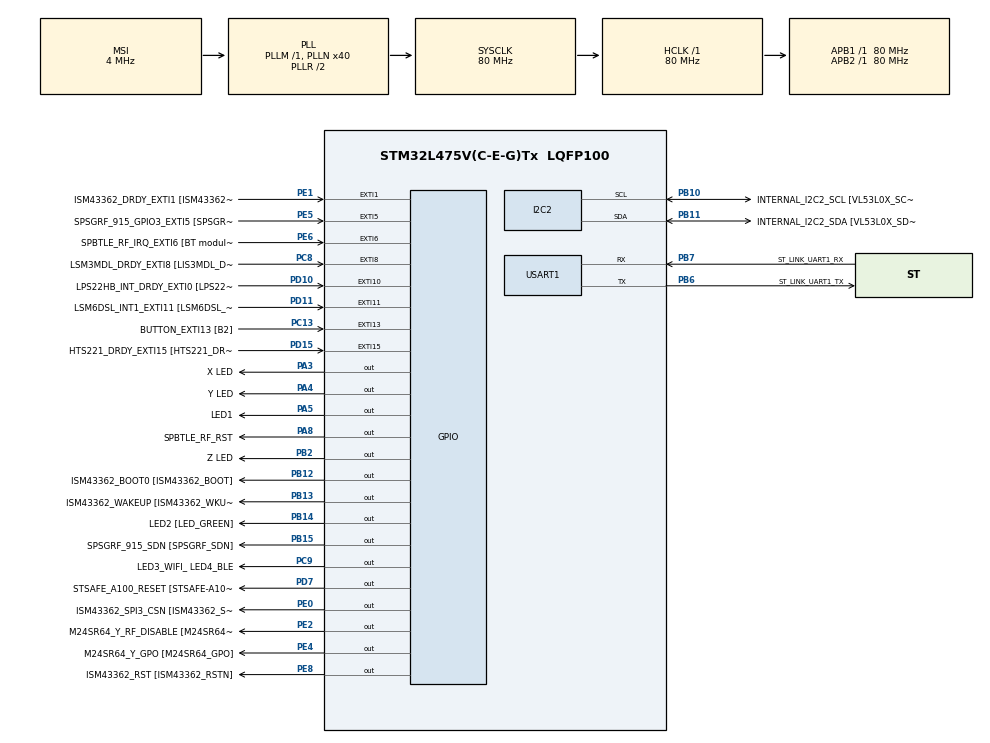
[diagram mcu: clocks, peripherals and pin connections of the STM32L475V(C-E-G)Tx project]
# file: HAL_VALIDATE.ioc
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Mcu.Family=STM32L4
RCC.CortexFreq_Value=80000000
PB10.Mode=I2C
PB14.GPIO_Label=LED2 [LED_GREEN]
I2C2.Timing=0x10909CEC
PB6.GPIO_Label=ST_LINK_UART1_TX
PC15-OSC32_OUT\ (PC15).Mode=LSE-External-Oscillator
PC13.GPIO_Label=BUTTON_EXTI13 [B2]
PB13.GPIO_Label=ISM43362_WAKEUP [ISM43362_WKUP]
PB11.Signal=I2C2_SDA
PB13.Signal=GPIO_Output
PB15.Signal=GPIO_Output
PE6.GPIO_Label=SPBTLE_RF_IRQ_EXTI6 [BT module_SPI_IRQ]
RCC.SYSCLKSource=RCC_SYSCLKSOURCE_PLLCLK
ProjectManager.StackSize=0x400
PC14-OSC32_IN\ (PC14).Mode=LSE-External-Oscillator
PA14\ (JTCK-SWCLK).Signal=SYS_JTCK-SWCLK
PD11.GPIO_Label=LSM6DSL_INT1_EXTI11 [LSM6DSL_INT1]
RCC.HCLKFreq_Value=80000000
RCC.APB2TimFreq_Value=80000000
PB6.Signal=USART1_TX
PB6.Mode=Asynchronous
PE5.Signal=GPXTI5
PE1.Signal=GPXTI1
RCC.AHBFreq_Value=80000000
NVIC.EXTI15_10_IRQn=true\:0\:0\:false\:false\:true\:true\:true
RCC.HSE_VALUE=8000000
PB2.Signal=GPIO_Output
PB12.GPIO_Label=ISM43362_BOOT0 [ISM43362_BOOT]
PE4.GPIO_Label=M24SR64_Y_GPO [M24SR64_GPO]
PE2.Signal=GPIO_Output
PB7.Signal=USART1_RX
PA8.Signal=GPIO_Output
PE4.Signal=GPIO_Output
PD7.GPIO_Label=STSAFE_A100_RESET [STSAFE-A100_RESET]
PB7.GPIO_Label=ST_LINK_UART1_RX
Mcu.Package=LQFP100
PE0.GPIO_Label=ISM43362_SPI3_CSN [ISM43362_SSN]
RCC.APB1TimFreq_Value=80000000
PA13\ (JTMS-SWDIO).Signal=SYS_JTMS-SWDIO
PA4.GPIO_Label=Y LED
PE2.GPIO_Label=M24SR64_Y_RF_DISABLE [M24SR64_RFDIS]
PD15.Signal=GPXTI15
RCC.PLLSAI1N=24
PA3.Signal=GPIO_Output
RCC.MSI_VALUE=4000000
PA14\ (JTCK-SWCLK).Mode=Serial_Wire
PD15.GPIO_Label=HTS221_DRDY_EXTI15 [HTS221_DRDY]
PC9.GPIO_Label=LED3_WIFI_ LED4_BLE
PC13.Signal=GPXTI13
PC8.Signal=GPXTI8
PB11.GPIO_Label=INTERNAL_I2C2_SDA [VL53L0X_SDA]
PD7.Signal=GPIO_Output
PC15-OSC32_OUT\ (PC15).Signal=RCC_OSC32_OUT
PA14\ (JTCK-SWCLK).GPIO_Label=SYS_JTCK_SWCLK
PC8.GPIO_Label=LSM3MDL_DRDY_EXTI8 [LIS3MDL_DRDY]
PD10.Signal=GPXTI10
USART1.VirtualMode-Asynchronous=VM_ASYNC
PE0.PinState=GPIO_PIN_SET
PA8.GPIO_Label=SPBTLE_RF_RST
PB14.PinState=GPIO_PIN_SET
PB11.Mode=I2C
ProjectManager.TargetToolchain=STM32CubeIDE
PB10.GPIO_Label=INTERNAL_I2C2_SCL [VL53L0X_SCL]
PE8.GPIO_Label=ISM43362_RST [ISM43362_RSTN]
RCC.USBFreq_Value=48000000
PD10.GPIO_Label=LPS22HB_INT_DRDY_EXTI0 [LPS22HB_INT_DRDY] 
PB10.Signal=I2C2_SCL
PB14.Signal=GPIO_Output
PA5.Signal=GPIO_Output
board=B-L475E-IOT01A1
RCC.VCOOutputFreq_Value=160000000
PE1.GPIO_Label=ISM43362_DRDY_EXTI1 [ISM43362_DATARDY]
RCC.APB2Freq_Value=80000000
PA13\ (JTMS-SWDIO).GPIO_Label=SYS_JTMS_SWDIO
PB15.GPIO_Label=SPSGRF_915_SDN [SPSGRF_SDN]
PE8.Signal=GPIO_Output
RCC.ADCFreq_Value=48000000
PE6.Signal=GPXTI6
Mcu.Name=STM32L475V(C-E-G)Tx
PE0.Signal=GPIO_Output
PA13\ (JTMS-SWDIO).Mode=Serial_Wire
PA4.Signal=GPIO_Output
RCC.SYSCLKFreq_VALUE=80000000
PA5.GPIO_Label=LED1
PC13.GPIO_ModeDefaultEXTI=GPIO_MODE_IT_FALLING
PC14-OSC32_IN\ (PC14).Signal=RCC_OSC32_IN
PD11.Signal=GPXTI11
PE5.GPIO_Label=SPSGRF_915_GPIO3_EXTI5 [SPSGRF_GPIO_3]
PB7.Mode=Asynchronous
NVIC.EXTI9_5_IRQn=true\:0\:0\:false\:false\:true\:true\:true
PB2.GPIO_Label=Z LED
ProjectManager.HeapSize=0x200
RCC.HSI_VALUE=16000000
NVIC.PriorityGroup=NVIC_PRIORITYGROUP_4
RCC.PLLN=40
PC9.Signal=GPIO_Output
RCC.APB1Freq_Value=80000000
PB12.Signal=GPIO_Output
PA3.GPIO_Label=X LED

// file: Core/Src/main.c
/* USER CODE BEGIN Header */
/**
  ******************************************************************************
  * @file           : main.c
  * @brief          : Main program body
  ******************************************************************************
  * @attention
  *
  * <h2><center>&copy; Copyright (c) 2021 STMicroelectronics.
  * All rights reserved.</center></h2>
  *
  * This software component is licensed by ST under BSD 3-Clause license,
  * the "License"; You may not use this file except in compliance with the
  * License. You may obtain a copy of the License at:
  *                        opensource.org/licenses/BSD-3-Clause
  *
  ******************************************************************************
  */
/* USER CODE END Header */
#include "main.h"

/* USER CODE BEGIN Includes */
#include "string.h"
#include <stdio.h>
/* USER CODE END Includes */

I2C_HandleTypeDef hi2c2;

UART_HandleTypeDef huart1;

/* USER CODE BEGIN PV */
static const uint8_t LSM6_ADDR = 0x6A << 1; // I'm remember what this is? I think this is the 1101010 in 1101 010x
static const uint8_t XALL_ADDR = 0x28; // next  8 bits (will I need this if I try to read 2 bytes?)
//static const uint8_t INT1_CTRL = 0x0D;
static uint8_t config = 0x60;	// 01100000; high speed
//static uint16_t xread;
//static uint16_t yread;
//static uint16_t zread;
//static uint16_t AccelVal[3];

/* USER CODE END PV */

void SystemClock_Config(void);
static void MX_GPIO_Init(void);
static void MX_I2C2_Init(void);
static void MX_USART1_UART_Init(void);
/* USER CODE BEGIN PFP */
//void readXval(uint8_t* buf);
//void readYval(uint8_t* buf);
//void readZval(uint8_t* buf);
void LEDBlink();
//uint16_t * readAccel();
// in C you can't pass by reference
//void readAccel(uint16_t *retval); //
void readAccel(uint16_t *retval,char *retSi);
void LEDfunc(uint16_t *accVal, char *acSi);
/* USER CODE END PFP */

int main(void)
{
  /* USER CODE BEGIN 1 */
		HAL_StatusTypeDef ret; // status of I2C commands
		uint8_t text[50] = "Hello!\r\n";  // text array for outputting in UART
		//uint8_t buf[6]; 			 // buffer for register values supposed to be
		//uint16_t val;  				 // the combined registers of x accelerometer value
		//float xval;
		uint16_t AccelVal[3];      // want an array
		char acSign[3];
  /* USER CODE END 1 */

  /* MCU Configuration--------------------------------------------------------*/

  /* Reset of all peripherals, Initializes the Flash interface and the Systick. */
  HAL_Init();

  /* Configure the system clock */
  SystemClock_Config();

  /* Initialize all configured peripherals */
  MX_GPIO_Init();
  MX_I2C2_Init();
  MX_USART1_UART_Init();
  /* USER CODE BEGIN 2 */
//  HAL_TIM_Base_Start(&htim2);
//  HAL_TIM_Base_Start(&htim5);
  HAL_Delay(15);

  // print out start message for debugging
  HAL_UART_Transmit(&huart1, text, strlen((char*)text), HAL_MAX_DELAY);

  //// configure the I2C register for IMU
  ret = HAL_I2C_Mem_Write(&hi2c2, LSM6_ADDR, 0x10, 1, &config, 1, 50);
  if(ret != HAL_OK)
  {
		//return ret;
		strcpy((char*)text,"I2C Error\r\n");
		while (1){HAL_UART_Transmit(&huart1, text, strlen((char*)text), HAL_MAX_DELAY);}
  }
  /* USER CODE END 2 */

  /* Infinite loop */
  /* USER CODE BEGIN WHILE */
  while (1)
  {

	  LEDBlink();
	  HAL_Delay(100);
	  readAccel(AccelVal,acSign);
	  HAL_Delay(100);
	  LEDfunc(AccelVal,acSign);
	  HAL_Delay(500);
//	  readXval(&buf);
//	  HAL_Delay(10);
//	  readYval(&buf);
//	  HAL_Delay(10);
//	  readZval(&buf);
//	  HAL_Delay(70);
    /* USER CODE END WHILE */

  }
}

void SystemClock_Config(void)
{
  RCC_OscInitTypeDef RCC_OscInitStruct = {0};
  RCC_ClkInitTypeDef RCC_ClkInitStruct = {0};
  RCC_PeriphCLKInitTypeDef PeriphClkInit = {0};

  /** Configure LSE Drive Capability
  */
  HAL_PWR_EnableBkUpAccess();
  __HAL_RCC_LSEDRIVE_CONFIG(RCC_LSEDRIVE_LOW);
  /** Initializes the RCC Oscillators according to the specified parameters
  * in the RCC_OscInitTypeDef structure.
  */
  RCC_OscInitStruct.OscillatorType = RCC_OSCILLATORTYPE_LSE|RCC_OSCILLATORTYPE_MSI;
  RCC_OscInitStruct.LSEState = RCC_LSE_ON;
  RCC_OscInitStruct.MSIState = RCC_MSI_ON;
  RCC_OscInitStruct.MSICalibrationValue = 0;
  RCC_OscInitStruct.MSIClockRange = RCC_MSIRANGE_6;
  RCC_OscInitStruct.PLL.PLLState = RCC_PLL_ON;
  RCC_OscInitStruct.PLL.PLLSource = RCC_PLLSOURCE_MSI;
  RCC_OscInitStruct.PLL.PLLM = 1;
  RCC_OscInitStruct.PLL.PLLN = 40;
  RCC_OscInitStruct.PLL.PLLP = RCC_PLLP_DIV7;
  RCC_OscInitStruct.PLL.PLLQ = RCC_PLLQ_DIV2;
  RCC_OscInitStruct.PLL.PLLR = RCC_PLLR_DIV2;
  if (HAL_RCC_OscConfig(&RCC_OscInitStruct) != HAL_OK)
  {
    Error_Handler();
  }
  /** Initializes the CPU, AHB and APB buses clocks
  */
  RCC_ClkInitStruct.ClockType = RCC_CLOCKTYPE_HCLK|RCC_CLOCKTYPE_SYSCLK
                              |RCC_CLOCKTYPE_PCLK1|RCC_CLOCKTYPE_PCLK2;
  RCC_ClkInitStruct.SYSCLKSource = RCC_SYSCLKSOURCE_PLLCLK;
  RCC_ClkInitStruct.AHBCLKDivider = RCC_SYSCLK_DIV1;
  RCC_ClkInitStruct.APB1CLKDivider = RCC_HCLK_DIV1;
  RCC_ClkInitStruct.APB2CLKDivider = RCC_HCLK_DIV1;

  if (HAL_RCC_ClockConfig(&RCC_ClkInitStruct, FLASH_LATENCY_4) != HAL_OK)
  {
    Error_Handler();
  }
  PeriphClkInit.PeriphClockSelection = RCC_PERIPHCLK_USART1|RCC_PERIPHCLK_I2C2;
  PeriphClkInit.Usart1ClockSelection = RCC_USART1CLKSOURCE_PCLK2;
  PeriphClkInit.I2c2ClockSelection = RCC_I2C2CLKSOURCE_PCLK1;
  if (HAL_RCCEx_PeriphCLKConfig(&PeriphClkInit) != HAL_OK)
  {
    Error_Handler();
  }
  /** Configure the main internal regulator output voltage
  */
  if (HAL_PWREx_ControlVoltageScaling(PWR_REGULATOR_VOLTAGE_SCALE1) != HAL_OK)
  {
    Error_Handler();
  }
  /** Enable MSI Auto calibration
  */
  HAL_RCCEx_EnableMSIPLLMode();
}

static void MX_I2C2_Init(void)
{

  hi2c2.Instance = I2C2;
  hi2c2.Init.Timing = 0x10909CEC;
  hi2c2.Init.OwnAddress1 = 0;
  hi2c2.Init.AddressingMode = I2C_ADDRESSINGMODE_7BIT;
  hi2c2.Init.DualAddressMode = I2C_DUALADDRESS_DISABLE;
  hi2c2.Init.OwnAddress2 = 0;
  hi2c2.Init.OwnAddress2Masks = I2C_OA2_NOMASK;
  hi2c2.Init.GeneralCallMode = I2C_GENERALCALL_DISABLE;
  hi2c2.Init.NoStretchMode = I2C_NOSTRETCH_DISABLE;
  if (HAL_I2C_Init(&hi2c2) != HAL_OK)
  {
    Error_Handler();
  }
  /** Configure Analogue filter
  */
  if (HAL_I2CEx_ConfigAnalogFilter(&hi2c2, I2C_ANALOGFILTER_ENABLE) != HAL_OK)
  {
    Error_Handler();
  }
  /** Configure Digital filter
  */
  if (HAL_I2CEx_ConfigDigitalFilter(&hi2c2, 0) != HAL_OK)
  {
    Error_Handler();
  }

}

static void MX_USART1_UART_Init(void)
{

  huart1.Instance = USART1;
  huart1.Init.BaudRate = 115200;
  huart1.Init.WordLength = UART_WORDLENGTH_8B;
  huart1.Init.StopBits = UART_STOPBITS_1;
  huart1.Init.Parity = UART_PARITY_NONE;
  huart1.Init.Mode = UART_MODE_TX_RX;
  huart1.Init.HwFlowCtl = UART_HWCONTROL_NONE;
  huart1.Init.OverSampling = UART_OVERSAMPLING_16;
  huart1.Init.OneBitSampling = UART_ONE_BIT_SAMPLE_DISABLE;
  huart1.AdvancedInit.AdvFeatureInit = UART_ADVFEATURE_NO_INIT;
  if (HAL_UART_Init(&huart1) != HAL_OK)
  {
    Error_Handler();
  }

}

static void MX_GPIO_Init(void)
{
  GPIO_InitTypeDef GPIO_InitStruct = {0};

  /* GPIO Ports Clock Enable */
  __HAL_RCC_GPIOE_CLK_ENABLE();
  __HAL_RCC_GPIOC_CLK_ENABLE();
  __HAL_RCC_GPIOA_CLK_ENABLE();
  __HAL_RCC_GPIOB_CLK_ENABLE();
  __HAL_RCC_GPIOD_CLK_ENABLE();

  /*Configure GPIO pin Output Level */
  HAL_GPIO_WritePin(GPIOE, M24SR64_Y_RF_DISABLE_Pin|M24SR64_Y_GPO_Pin|ISM43362_RST_Pin, GPIO_PIN_RESET);

  /*Configure GPIO pin Output Level */
  HAL_GPIO_WritePin(GPIOA, X_LED_Pin|Y_LED_Pin|LED1_Pin|SPBTLE_RF_RST_Pin, GPIO_PIN_RESET);

  /*Configure GPIO pin Output Level */
  HAL_GPIO_WritePin(GPIOB, Z_LED_Pin|ISM43362_BOOT0_Pin|ISM43362_WAKEUP_Pin|SPSGRF_915_SDN_Pin, GPIO_PIN_RESET);

  /*Configure GPIO pin Output Level */
  HAL_GPIO_WritePin(LED2_GPIO_Port, LED2_Pin, GPIO_PIN_SET);

  /*Configure GPIO pin Output Level */
  HAL_GPIO_WritePin(LED3_WIFI__LED4_BLE_GPIO_Port, LED3_WIFI__LED4_BLE_Pin, GPIO_PIN_RESET);

  /*Configure GPIO pin Output Level */
  HAL_GPIO_WritePin(STSAFE_A100_RESET_GPIO_Port, STSAFE_A100_RESET_Pin, GPIO_PIN_RESET);

  /*Configure GPIO pin Output Level */
  HAL_GPIO_WritePin(ISM43362_SPI3_CSN_GPIO_Port, ISM43362_SPI3_CSN_Pin, GPIO_PIN_SET);

  /*Configure GPIO pins : M24SR64_Y_RF_DISABLE_Pin M24SR64_Y_GPO_Pin ISM43362_RST_Pin ISM43362_SPI3_CSN_Pin */
  GPIO_InitStruct.Pin = M24SR64_Y_RF_DISABLE_Pin|M24SR64_Y_GPO_Pin|ISM43362_RST_Pin|ISM43362_SPI3_CSN_Pin;
  GPIO_InitStruct.Mode = GPIO_MODE_OUTPUT_PP;
  GPIO_InitStruct.Pull = GPIO_NOPULL;
  GPIO_InitStruct.Speed = GPIO_SPEED_FREQ_LOW;
  HAL_GPIO_Init(GPIOE, &GPIO_InitStruct);

  /*Configure GPIO pins : SPSGRF_915_GPIO3_EXTI5_Pin SPBTLE_RF_IRQ_EXTI6_Pin ISM43362_DRDY_EXTI1_Pin */
  GPIO_InitStruct.Pin = SPSGRF_915_GPIO3_EXTI5_Pin|SPBTLE_RF_IRQ_EXTI6_Pin|ISM43362_DRDY_EXTI1_Pin;
  GPIO_InitStruct.Mode = GPIO_MODE_IT_RISING;
  GPIO_InitStruct.Pull = GPIO_NOPULL;
  HAL_GPIO_Init(GPIOE, &GPIO_InitStruct);

  /*Configure GPIO pin : BUTTON_EXTI13_Pin */
  GPIO_InitStruct.Pin = BUTTON_EXTI13_Pin;
  GPIO_InitStruct.Mode = GPIO_MODE_IT_FALLING;
  GPIO_InitStruct.Pull = GPIO_NOPULL;
  HAL_GPIO_Init(BUTTON_EXTI13_GPIO_Port, &GPIO_InitStruct);

  /*Configure GPIO pins : X_LED_Pin Y_LED_Pin LED1_Pin SPBTLE_RF_RST_Pin */
  GPIO_InitStruct.Pin = X_LED_Pin|Y_LED_Pin|LED1_Pin|SPBTLE_RF_RST_Pin;
  GPIO_InitStruct.Mode = GPIO_MODE_OUTPUT_PP;
  GPIO_InitStruct.Pull = GPIO_NOPULL;
  GPIO_InitStruct.Speed = GPIO_SPEED_FREQ_LOW;
  HAL_GPIO_Init(GPIOA, &GPIO_InitStruct);

  /*Configure GPIO pins : Z_LED_Pin ISM43362_BOOT0_Pin ISM43362_WAKEUP_Pin LED2_Pin
                           SPSGRF_915_SDN_Pin */
  GPIO_InitStruct.Pin = Z_LED_Pin|ISM43362_BOOT0_Pin|ISM43362_WAKEUP_Pin|LED2_Pin
                          |SPSGRF_915_SDN_Pin;
  GPIO_InitStruct.Mode = GPIO_MODE_OUTPUT_PP;
  GPIO_InitStruct.Pull = GPIO_NOPULL;
  GPIO_InitStruct.Speed = GPIO_SPEED_FREQ_LOW;
  HAL_GPIO_Init(GPIOB, &GPIO_InitStruct);

  /*Configure GPIO pins : LPS22HB_INT_DRDY_EXTI0_Pin LSM6DSL_INT1_EXTI11_Pin HTS221_DRDY_EXTI15_Pin */
  GPIO_InitStruct.Pin = LPS22HB_INT_DRDY_EXTI0_Pin|LSM6DSL_INT1_EXTI11_Pin|HTS221_DRDY_EXTI15_Pin;
  GPIO_InitStruct.Mode = GPIO_MODE_IT_RISING;
  GPIO_InitStruct.Pull = GPIO_NOPULL;
  HAL_GPIO_Init(GPIOD, &GPIO_InitStruct);

  /*Configure GPIO pin : LSM3MDL_DRDY_EXTI8_Pin */
  GPIO_InitStruct.Pin = LSM3MDL_DRDY_EXTI8_Pin;
  GPIO_InitStruct.Mode = GPIO_MODE_IT_RISING;
  GPIO_InitStruct.Pull = GPIO_NOPULL;
  HAL_GPIO_Init(LSM3MDL_DRDY_EXTI8_GPIO_Port, &GPIO_InitStruct);

  /*Configure GPIO pin : LED3_WIFI__LED4_BLE_Pin */
  GPIO_InitStruct.Pin = LED3_WIFI__LED4_BLE_Pin;
  GPIO_InitStruct.Mode = GPIO_MODE_OUTPUT_PP;
  GPIO_InitStruct.Pull = GPIO_NOPULL;
  GPIO_InitStruct.Speed = GPIO_SPEED_FREQ_LOW;
  HAL_GPIO_Init(LED3_WIFI__LED4_BLE_GPIO_Port, &GPIO_InitStruct);

  /*Configure GPIO pin : STSAFE_A100_RESET_Pin */
  GPIO_InitStruct.Pin = STSAFE_A100_RESET_Pin;
  GPIO_InitStruct.Mode = GPIO_MODE_OUTPUT_PP;
  GPIO_InitStruct.Pull = GPIO_NOPULL;
  GPIO_InitStruct.Speed = GPIO_SPEED_FREQ_LOW;
  HAL_GPIO_Init(STSAFE_A100_RESET_GPIO_Port, &GPIO_InitStruct);

  /* EXTI interrupt init*/
  HAL_NVIC_SetPriority(EXTI9_5_IRQn, 0, 0);
  HAL_NVIC_EnableIRQ(EXTI9_5_IRQn);

  HAL_NVIC_SetPriority(EXTI15_10_IRQn, 0, 0);
  HAL_NVIC_EnableIRQ(EXTI15_10_IRQn);

}

/* USER CODE BEGIN 4 */

//void HAL_TIM_PeriodElapsedCallback(TIM_HandleTypeDef *htim){  // some overlap with timers prventing working
//	if (htim == &htim2){
////		uint8_t buff[] = "Hello World!!\r\n";
////		HAL_UART_Transmit(&huart1, buff, sizeof(buff), 1000);
////		HAL_GPIO_TogglePin(LED2_GPIO_Port, LED2_Pin);
////	    HAL_GPIO_TogglePin(LED1_GPIO_Port, LED1_Pin);
//		LEDBlink();
//	}
//	if (htim == &htim5){
//		//readXval();
//	}
//}
void LEDBlink (){
	uint8_t buff[] = "\n\n\n\n\n\n\n\n\n\n\nNew Data Acquired: \r\n";
	HAL_UART_Transmit(&huart1, buff, sizeof(buff), 1000);
	HAL_GPIO_TogglePin(LED1_GPIO_Port, LED1_Pin);
    HAL_GPIO_TogglePin(LED2_GPIO_Port, LED2_Pin);
}
//void readAccel(uint16_t *retval){
void readAccel(uint16_t *retval, char *retSi){
//void readAccel(uint16_t ** retval){
	HAL_StatusTypeDef ret; // status of I2C commands
	uint8_t text[50];      // text array for outputting in UART
	uint8_t buf[6];        // takes in data from IMU
	uint16_t val;          // combined value
//	uint16_t retarr[3];
	// read values from I2C
	ret = HAL_I2C_Mem_Read(&hi2c2, LSM6_ADDR, XALL_ADDR, 1, &buf, 6, HAL_MAX_DELAY);
	if (ret != HAL_OK){  // if I2C fails
	  strcpy((char*)text,"ERROR RX1\r\n");
	  HAL_UART_Transmit(&huart1, text, strlen((char*)text), HAL_MAX_DELAY);
	}

	//// combing upper and lower values /////
	val = (((uint16_t)buf[1] << 8) | buf[0]);                             // creates X values
	/////////////////////////////////////////
	// dealing with the two's complement and making printable string
	if ( val > 0x7FFF ) {
		val = ~val & 0x7FFF;
		sprintf((char*)text,"X value: -%u \r\n",((unsigned int)(val)));   // negative condition
		retSi[0] = '-';
	}
	else {
		sprintf((char*)text,"X value: %u \r\n",((unsigned int)(val)));    // not negative
		retSi[0] = '+';
	}
	retval[0] = val;
	HAL_UART_Transmit(&huart1, text, strlen((char*)text), HAL_MAX_DELAY); // prints

	/////////////////////////////////////////
	val = (((uint16_t)buf[3] << 8) | buf[2]);                             // creates Y values
	/////////////////////////////////////////
	if ( val > 0x7FFF ) {
		val = ~val & 0x7FFF;
		sprintf((char*)text,"Y value: -%u \r\n",((unsigned int)(val)));
		retSi[1] = '-';
	}
	else {
		sprintf((char*)text,"Y value: %u \r\n",((unsigned int)(val)));
		retSi[1] = '+';
	}
	retval[1] = val;
	HAL_UART_Transmit(&huart1, text, strlen((char*)text), HAL_MAX_DELAY);

	/////////////////////////////////////////
	val = (((uint16_t)buf[5] << 8) | buf[4]);                             // creates Z values
	/////////////////////////////////////////
	if ( val > 0x7FFF ) {
		val = ~val & 0x7FFF;
		sprintf((char*)text,"Z value: -%u \r\n",((unsigned int)(val)));
		retSi[2] = '-';
	}
	else {
//		sprintf((char*)text,"Z value: %u \r\n\n\n\n\n",((unsigned int)(val)));
		sprintf((char*)text,"Z value: %u \r\n",((unsigned int)(val)));
		retSi[2] = '+';
	}
	retval[2] = val;
	HAL_UART_Transmit(&huart1, text, strlen((char*)text), HAL_MAX_DELAY); // prints
//	return &retarr;
}
//void LEDfunc(uint16_t *accVal){
void LEDfunc(uint16_t *accVal, char *acSi){
	uint8_t out[16];
	///////////////////////////////////////////////////////////////////
	//////////////////////// Dealing with X values ////////////////////

	if (accVal[0] > 5000){// && !HAL_GPIO_ReadPin(X_LED_GPIO_Port, X_LED_Pin) ){

		sprintf((char*)out,"X is %c%d\r\n",acSi[0],accVal[0]); // for debugging purposes for now
		if (!HAL_GPIO_ReadPin(X_LED_GPIO_Port, X_LED_Pin)){
			HAL_GPIO_WritePin(X_LED_GPIO_Port, X_LED_Pin, GPIO_PIN_SET);
		}
//		else{
//			HAL_GPIO_WritePin(X_LED_GPIO_Port, X_LED_Pin, GPIO_PIN_RESET);
//		}
		/* // testing how ReadPin and WritePin works
		//HAL_GPIO(X_LED_GPIO_Port, X_LED_Pin);
		//HAL_GPIO_WritePin(GPIOx, GPIO_Pin, PinState)

		if (HAL_GPIO_ReadPin(X_LED_GPIO_Port, X_LED_Pin)){
			strcpy((char*)out,"X is on");
			HAL_GPIO_WritePin(X_LED_GPIO_Port, X_LED_Pin, GPIO_PIN_RESET);
		}
		else{
			strcpy((char*)out,"X is off");
			HAL_GPIO_WritePin(X_LED_GPIO_Port, X_LED_Pin, GPIO_PIN_SET);
		}
		*/

//		strcpy((char*)out,"X is pos");
//		sprintf((char*)out,"X is %c%d\r\n",acSi[0],accVal[0]);
	}
	else{
		strcpy((char*)out,"X is low\r\n");
		if (HAL_GPIO_ReadPin(X_LED_GPIO_Port, X_LED_Pin)){
			HAL_GPIO_WritePin(X_LED_GPIO_Port, X_LED_Pin, GPIO_PIN_RESET);
		}
	}
	HAL_UART_Transmit(&huart1, out, strlen((char*)out), HAL_MAX_DELAY);
	///////////////////////////////////////////////////////////////////
	///////////////////// Dealing with Y values ///////////////////////
	if (accVal[1] > 5000){

		sprintf((char*)out,"Y is %c%d\r\n",acSi[1],accVal[1]);
		if (!HAL_GPIO_ReadPin(Y_LED_GPIO_Port, Y_LED_Pin)){
			HAL_GPIO_WritePin(Y_LED_GPIO_Port, Y_LED_Pin, GPIO_PIN_SET);
		}
	}
	else{
		strcpy((char*)out,"Y is low\r\n");
		if (HAL_GPIO_ReadPin(Y_LED_GPIO_Port, Y_LED_Pin)){
			HAL_GPIO_WritePin(Y_LED_GPIO_Port, Y_LED_Pin, GPIO_PIN_RESET);
		}
	}
	HAL_UART_Transmit(&huart1, out, strlen((char*)out), HAL_MAX_DELAY);
	///////////////////////////////////////////////////////////////////
	///////////////////// Dealing with Z values  //////////////////////

	if (accVal[2] > 5000){ // < 5000){
		sprintf((char*)out,"Z is %c%d\r\n",acSi[2],accVal[2]);
		if (!HAL_GPIO_ReadPin(Z_LED_GPIO_Port, Z_LED_Pin)){
			HAL_GPIO_WritePin(Z_LED_GPIO_Port, Z_LED_Pin, GPIO_PIN_SET);
		}
	}
	else{
//		strcpy((char*)out,"Z is high (flat)\r\n");
		strcpy((char*)out,"Z is low\r\n");
		if (HAL_GPIO_ReadPin(Z_LED_GPIO_Port, Z_LED_Pin)){
			HAL_GPIO_WritePin(Z_LED_GPIO_Port, Z_LED_Pin, GPIO_PIN_RESET);
		}
	}
	HAL_UART_Transmit(&huart1, out, strlen((char*)out), HAL_MAX_DELAY);

}

/*
void readXval(uint8_t *buf){
		HAL_StatusTypeDef ret; // status of I2C commands
		uint8_t text[50];  // text array for outputting in UART
		//uint8_t buf[6];
		uint16_t val;
		// read values from I2C
		ret = HAL_I2C_Mem_Read(&hi2c2, LSM6_ADDR, XALL_ADDR, 1, &buf, 6, HAL_MAX_DELAY); //
		if (ret != HAL_OK){  // if I2C fails
		  strcpy((char*)text,"ERROR RX1\r\n");
		  HAL_UART_Transmit(&huart1, text, strlen((char*)text), HAL_MAX_DELAY);
		}
		// combing upper and lower values
		val = (((uint16_t)buf[1] << 8) | buf[0]);// / 0x4009;
		// dealing with the two's complement
		if ( val > 0x7FFF ) {
		//if ((val & 0x8000) == 0x800){
		  //val |= 0xF000;
			val = ~val & 0x7FFF;
		}
		//val = val/350;
		// create string value of combined accelerometer x value
		sprintf((char*)text,"X value: %u \r\n",((unsigned int)(val)));
		HAL_UART_Transmit(&huart1, text, strlen((char*)text), HAL_MAX_DELAY); // prints
}
void readYval(uint8_t *buf){
	uint8_t text[50];  // text array for outputting in UART
	uint16_t val;
	val = (((uint16_t)buf[3] << 8) | buf[2]);// / 0x4009;
	// dealing with the two's complement
	if ( val > 0x7FFF ) {
	//if ((val & 0x8000) == 0x800){
	  //val |= 0xF000;
		val = ~val & 0x7FFF;
	}
	//val = val/350;
	// create string value of combined accelerometer x value
	sprintf((char*)text,"Y value: %u \r\n",((unsigned int)(val)));
	HAL_UART_Transmit(&huart1, text, strlen((char*)text), HAL_MAX_DELAY); // prints
}
void readZval(uint8_t *buf){
	uint8_t text[50];  // text array for outputting in UART
	uint16_t val;
	val = (((uint16_t)buf[5] << 8) | buf[4]);// / 0x4009;
	// dealing with the two's complement
	if ( val > 0x7FFF ) {
	//if ((val & 0x8000) == 0x800){
	  //val |= 0xF000;
		val = ~val & 0x7FFF;
	}
	//val = val/350;
	// create string value of combined accelerometer x value
	sprintf((char*)text,"Z value: %u \r\n",((unsigned int)(val)));
	HAL_UART_Transmit(&huart1, text, strlen((char*)text), HAL_MAX_DELAY); // prints
}*/

/* USER CODE END 4 */

void Error_Handler(void)
{
  __disable_irq();
  while (1)
  {
  }
}

/************************ (C) COPYRIGHT STMicroelectronics *****END OF FILE****/
